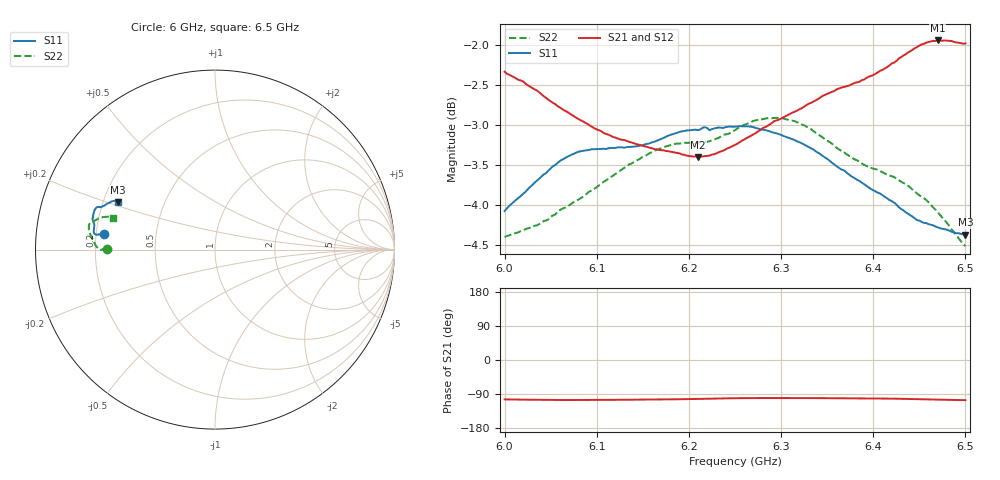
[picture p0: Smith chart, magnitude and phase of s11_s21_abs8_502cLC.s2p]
! MS46122B
! 1919307/90821646
! 7/29/2022 1:58:16 PM
! C:\USERS\PC_\DESKTOP\MEDICIONES\BANCHA ESTRECHA\6_65_GHZ\S11_S21_ABS8_502CL.S2P
! CHANNEL.1
! TR.MEASUREMENT
! CORRECTED.DATA
# GHZ S RI R 50.0
! FREQ.GHZ  S11RE  S11IM  S21RE  S21IM  S12RE  S12IM  S22RE  S22IM
!; PortSelection: Port_12
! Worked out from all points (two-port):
!   201 points, 6 GHz to 6.5 GHz, reference 50 ohm
!   highest |S21| = -1.94 dB at 6.47 GHz (marker M1); lowest = -3.4 dB at 6.21 GHz (marker M2)
!   |S21| within 3 dB of the highest: start of sweep to end of sweep
!   lowest |S11| = -4.4 dB at 6.5 GHz (marker M3), VSWR 4.05, Z = 13 + j10.8 ohm
!   |S11| at or under -10 dB: nowhere
!   |S22| runs from -4.5 to -2.9 dB; largest |S21 - S12| = 0.019
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6  -0.619 0.0883  -0.1834 -0.742  -0.1762 -0.7372  -0.6023 0.00335
6.005  -0.6232 0.0917  -0.1846 -0.7382  -0.1782 -0.7344  -0.6036 0.00343
6.025  -0.6392 0.0859  -0.191 -0.7248  -0.1892 -0.7212  -0.6098 0.00479
6.045  -0.655 0.0834  -0.1937 -0.7099  -0.1934 -0.7033  -0.6166 0.00487
6.0625  -0.6678 0.0857  -0.1961 -0.6971  -0.1913 -0.6889  -0.6273 0.000553
6.085  -0.6752 0.0949  -0.1913 -0.6853  -0.1855 -0.6761  -0.6383 -0.00154
6.1175  -0.6741 0.1201  -0.1829 -0.6712  -0.1731 -0.6633  -0.6577 0.013
6.1675  -0.676 0.1515  -0.1659 -0.6623  -0.1537 -0.655  -0.6813 0.0567
6.1825  -0.6801 0.159  -0.1618 -0.6611  -0.1484 -0.6549  -0.6853 0.0649
6.21  -0.681 0.1725  -0.1488 -0.6592  -0.1341 -0.6562  -0.6865 0.0706
6.2325  -0.6798 0.1878  -0.137 -0.6666  -0.1229 -0.6641  -0.6906 0.0762
6.25  -0.6755 0.2056  -0.1298 -0.6754  -0.1165 -0.6747  -0.6967 0.0899
6.2675  -0.67 0.2229  -0.1271 -0.6853  -0.1131 -0.6859  -0.7023 0.1092
6.2875  -0.6615 0.2335  -0.1283 -0.6965  -0.1145 -0.6971  -0.7029 0.1295
6.3125  -0.6513 0.2378  -0.1304 -0.7087  -0.1155 -0.7114  -0.6966 0.1481
6.335  -0.6408 0.237  -0.134 -0.7197  -0.119 -0.7238  -0.6842 0.1556
6.3575  -0.6235 0.2418  -0.1393 -0.73  -0.1257 -0.7358  -0.6678 0.1628
6.385  -0.6007 0.256  -0.1487 -0.7384  -0.137 -0.7479  -0.6481 0.1739
6.4175  -0.5761 0.2678  -0.1595 -0.7545  -0.1502 -0.7622  -0.6334 0.1792
6.445  -0.5559 0.2714  -0.178 -0.7703  -0.1736 -0.7775  -0.6166 0.1822
6.47  -0.5485 0.2685  -0.2017 -0.7736  -0.198 -0.7785  -0.5962 0.1844
6.5  -0.5428 0.2653  -0.2184 -0.7655  -0.2155 -0.7678  -0.5669 0.1786
